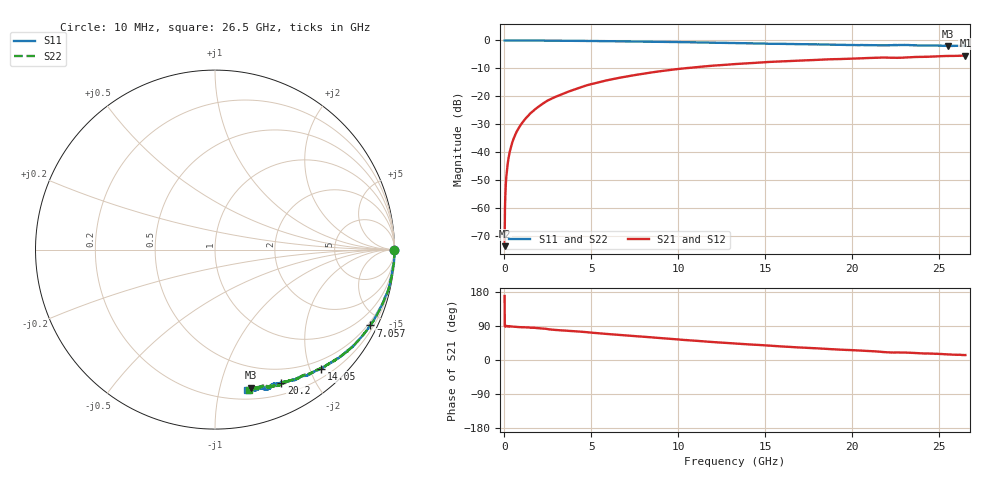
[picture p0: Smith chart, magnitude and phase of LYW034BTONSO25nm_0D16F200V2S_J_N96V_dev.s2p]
!Keysight Technologies,N5222B,MY61253708,A.15.00.15
!Date: Wednesday, June 19, 2024 09:35:31
!Correction: S11(C  2-Port  )
!S21(C  2-Port  )
!S12(C  2-Port  )
!S22(C  2-Port  )
!S2P File: Measurements: S11, S21, S12, S22:
# Hz S  RI  R 50
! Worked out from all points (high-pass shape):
!   2651 points, 10 MHz to 26.5 GHz, reference 50 ohm
!   highest |S21| = -5.38 dB at 26.5 GHz (marker M1); lowest = -73.6 dB at 10 MHz (marker M2)
!   |S21| within 3 dB of the highest: 13.4 GHz to end of sweep
!   lowest |S11| = -2.0 dB at 25.5 GHz (marker M3), VSWR 8.76, Z = 14.9 - j62.3 ohm
!   |S11| at or under -10 dB: nowhere
!   |S22| runs from -1.9 to 0.0 dB; largest |S21 - S12| = 0.0066
!   S11 on the Smith chart (normalised r, x): 10 MHz: open; 7.057 GHz: 0.37, -4.30; 14.05 GHz: 0.34, -2.19; 20.2 GHz: 0.33, -1.57; 26.5 GHz: 0.27, -1.22
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1e7  0.9986 -0.00251  -0.000205 4.02e-05  -0.000174 0.000772  0.9983 -0.000961
7.997358e7  0.9999 -0.00571  4.06e-05 0.00269  1.15e-05 0.0027  0.9993 -0.0053
1.599434e8  0.9999 -0.0115  6.28e-05 0.00532  5.17e-05 0.00537  0.9996 -0.0108
1.899321e8  1 -0.0129  0.00011 0.00632  8.5e-05 0.00639  0.9997 -0.0122
2.399132e8  0.9995 -0.0166  0.000134 0.00799  0.000133 0.00806  0.9992 -0.0159
3.398755e8  0.9995 -0.0231  0.000249 0.0113  0.000241 0.0115  0.9993 -0.0223
4.598302e8  0.9989 -0.0314  0.000509 0.0153  0.000446 0.0154  0.9988 -0.0309
6.097736e8  0.9989 -0.041  0.000761 0.0203  0.000808 0.0205  0.9988 -0.0409
7.997019e8  0.9981 -0.0539  0.00139 0.0264  0.00141 0.0267  0.9975 -0.0531
1.43946e9  0.9905 -0.0974  0.00344 0.0477  0.00351 0.048  0.9929 -0.0944
2.319128e9  0.9816 -0.1517  0.00993 0.0777  0.0102 0.0783  0.9828 -0.1527
3.138819e9  0.9708 -0.2042  0.0206 0.1024  0.0208 0.1031  0.9712 -0.2035
4.428332e9  0.9418 -0.2816  0.0389 0.1422  0.0394 0.1432  0.943 -0.2796
7.05734e9  0.8653 -0.4227  0.0976 0.2055  0.0993 0.2063  0.8663 -0.4217
8.846664e9  0.801 -0.5032  0.1463 0.2371  0.1481 0.2378  0.8013 -0.5025
1.3255e10  0.6242 -0.6426  0.274 0.2605  0.2766 0.2602  0.6262 -0.6417
1.40547e10  0.5917 -0.6641  0.2955 0.258  0.2974 0.2575  0.5951 -0.657
1.767333e10  0.4518 -0.721  0.3799 0.232  0.3836 0.2301  0.4605 -0.7185
2.020238e10  0.3698 -0.7417  0.429 0.2058  0.4314 0.202  0.3815 -0.7403
2.209166e10  0.3169 -0.7528  0.462 0.1695  0.464 0.1662  0.3092 -0.7585
2.550038e10  0.198 -0.7701  0.5106 0.1327  0.5121 0.1321  0.2171 -0.7722
2.65e10  0.179 -0.7844  0.524 0.1216  0.5236 0.1175  0.1906 -0.7819
